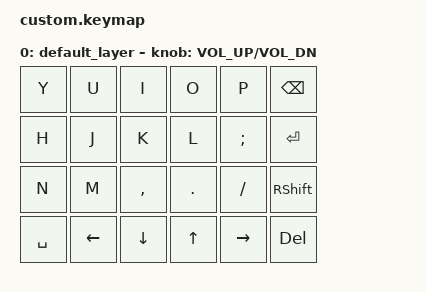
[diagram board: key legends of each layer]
#include <behaviors.dtsi>
#include <dt-bindings/zmk/keys.h>
#include <dt-bindings/zmk/bt.h>

/ {
    keymap {
        compatible = "zmk,keymap";

        default_layer {
            // Mappa dei 24 tasti (4 righe x 6 colonne del lato destro)
            // Modifica i codici "&kp" per cambiare la lettera o la funzione
            bindings = <
                &kp Y       &kp U       &kp I       &kp O       &kp P          &kp BSPC
                &kp H       &kp J       &kp K       &kp L       &kp SEMI       &kp RET
                &kp N       &kp M       &kp COMMA   &kp DOT     &kp FSLH       &kp RSHFT
                &kp SPACE   &kp LEFT    &kp DOWN    &kp UP      &kp RIGHT      &kp DEL
            >;

            // Configurazione della rotazione del Knob
            // Il primo valore è la rotazione oraria, il secondo antioraria
            sensor-bindings = <&inc_dec_kp C_VOL_UP C_VOL_DN>;
        };
    };
};
